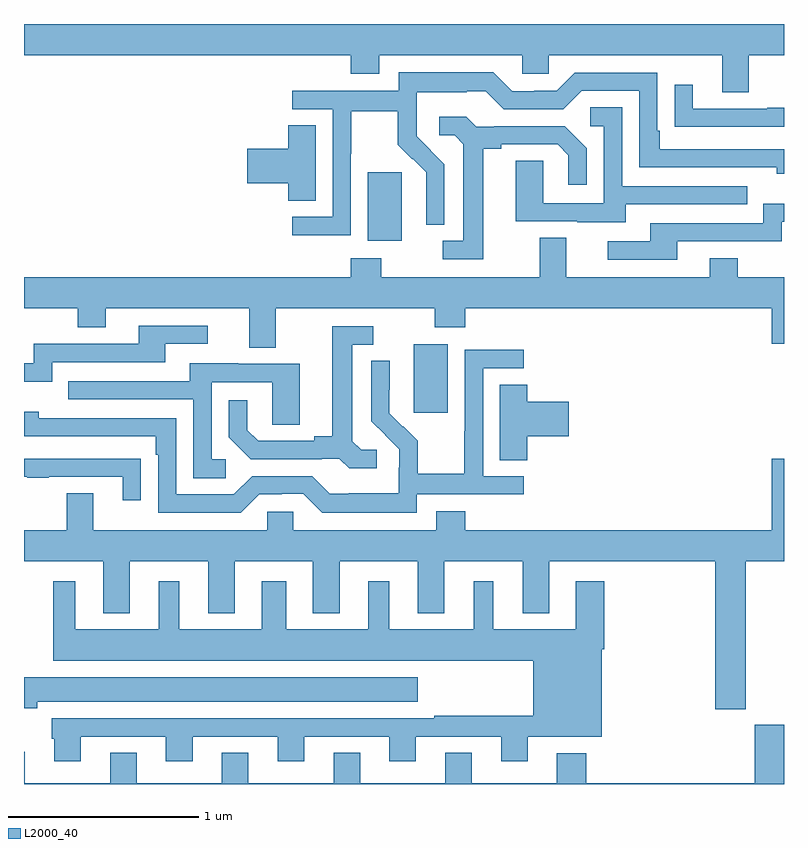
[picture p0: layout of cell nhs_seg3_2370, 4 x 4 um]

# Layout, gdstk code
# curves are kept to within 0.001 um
import gdstk
lib = gdstk.Library(unit=1e-6, precision=1e-09)
def R(c, l, rs):  # rectangles x0, y0, x1, y1
    for r in rs: c.add(gdstk.rectangle(r[:2], r[2:], *l))
def P(c, l, *ps):  # polygons
    for p in ps: c.add(gdstk.Polygon(p, *l))
L2000_40 = (2000, 40)

nhs_seg3_2370 = lib.new_cell('nhs_seg3_2370')
R(nhs_seg3_2370, L2000_40, [(235.052,712.353,235.231,712.714), (234.809,713.258,234.988,713.619)])
P(nhs_seg3_2370, L2000_40, [(236.815,714.236),(237,714.236),(237,714.4),(233,714.4),(233,714.236),(234.719,714.236),(234.719,714.137),(234.871,714.137),(234.871,714.236),(235.623,714.236),(235.623,714.138),(235.761,714.138),(235.761,714.236),(236.675,714.236),(236.675,714.042),(236.815,714.042)],
  [(234.72,713.716),(234.723,713.716),(234.723,713.94),(234.967,713.94),(234.967,713.765),(235.044,713.688),(235.047,713.691),(235.118,713.621),(235.118,713.498),(235.116,713.498),(235.116,713.344),(235.212,713.344),(235.212,713.662),(235.066,713.81),(235.066,713.907),(235.068,713.907),(235.068,714.041),(235.331,714.041),(235.331,714.045),(235.431,714.045),(235.524,713.952),(235.839,713.952),(235.935,714.048),(236.238,714.048),(236.238,713.646),(236.963,713.646),(236.963,713.612),(237,713.612),(237,713.742),(236.347,713.742),(236.347,713.839),(236.334,713.839),(236.334,714.144),(235.899,714.144),(235.803,714.048),(235.685,714.048),(235.685,714.045),(235.569,714.045),(235.469,714.145),(234.972,714.145),(234.972,714.048),(234.411,714.048),(234.411,713.952),(234.624,713.952),(234.624,713.385),(234.411,713.385),(234.411,713.287),(234.72,713.287)],
  [(237,713.96),(236.911,713.96),(236.911,713.955),(236.521,713.955),(236.521,714.079),(236.425,714.079),(236.425,713.86),(236.527,713.86),(236.527,713.859),(237,713.859)],
  [(236.167,713.451),(236.807,713.451),(236.807,713.547),(236.148,713.547),(236.148,713.963),(235.98,713.963),(235.98,713.862),(236.052,713.862),(236.052,713.457),(235.734,713.457),(235.734,713.681),(235.589,713.681),(235.589,713.361),(235.913,713.361),(235.913,713.357),(236.167,713.357)],
  [(235.417,713.744),(235.513,713.744),(235.513,713.766),(235.808,713.766),(235.865,713.709),(235.865,713.553),(235.962,713.553),(235.962,713.746),(235.846,713.862),(235.474,713.862),(235.474,713.859),(235.38,713.859),(235.328,713.911),(235.185,713.911),(235.185,713.814),(235.266,713.814),(235.313,713.767),(235.313,713.259),(235.203,713.259),(235.203,713.163),(235.417,713.163)],
  [(234.535,713.867),(234.392,713.867),(234.392,713.744),(234.174,713.744),(234.174,713.561),(234.392,713.561),(234.392,713.47),(234.535,713.47)],
  [(236.437,713.256),(236.988,713.256),(236.988,713.358),(237,713.358),(237,713.455),(236.892,713.455),(236.892,713.352),(236.297,713.352),(236.297,713.256),(236.073,713.256),(236.073,713.16),(236.437,713.16)],
  [(234.325,712.904),(235.162,712.904),(235.162,712.805),(235.322,712.805),(235.322,712.904),(236.936,712.904),(236.936,712.716),(237,712.716),(237,713.068),(236.757,713.068),(236.757,713.167),(236.609,713.167),(236.609,713.068),(235.855,713.068),(235.855,713.276),(235.715,713.276),(235.715,713.068),(234.879,713.068),(234.879,713.167),(234.719,713.167),(234.719,713.068),(233,713.068),(233,712.904),(233.284,712.904),(233.284,712.805),(233.431,712.805),(233.431,712.904),(234.185,712.904),(234.185,712.696),(234.325,712.696)],
  [(233.148,712.62),(233.743,712.62),(233.743,712.716),(233.968,712.716),(233.968,712.812),(233.603,712.812),(233.603,712.716),(233.052,712.716),(233.052,712.614),(233,712.614),(233,712.517),(233.148,712.517)],
  [(234.856,712.158),(234.774,712.158),(234.727,712.205),(234.727,712.713),(234.838,712.713),(234.838,712.809),(234.623,712.809),(234.623,712.229),(234.527,712.229),(234.527,712.206),(234.232,712.206),(234.175,712.263),(234.175,712.42),(234.078,712.42),(234.078,712.226),(234.194,712.11),(234.566,712.11),(234.566,712.113),(234.66,712.113),(234.712,712.061),(234.856,712.061)],
  [(235.068,711.924),(235.63,711.924),(235.63,712.02),(235.416,712.02),(235.416,712.587),(235.63,712.587),(235.63,712.686),(235.32,712.686),(235.32,712.256),(235.318,712.256),(235.318,712.033),(235.073,712.033),(235.073,712.207),(234.996,712.284),(234.993,712.281),(234.923,712.352),(234.924,712.628),(234.828,712.628),(234.828,712.31),(234.974,712.162),(234.974,712.065),(234.972,712.065),(234.972,711.931),(234.709,711.931),(234.709,711.927),(234.609,711.927),(234.516,712.02),(234.201,712.02),(234.105,711.924),(233.802,711.924),(233.802,712.326),(233.078,712.326),(233.078,712.36),(233,712.36),(233,712.23),(233.693,712.23),(233.693,712.133),(233.706,712.133),(233.706,711.828),(234.141,711.828),(234.237,711.924),(234.356,711.924),(234.356,711.927),(234.471,711.927),(234.571,711.827),(235.068,711.827)],
  [(234.061,712.11),(233.988,712.11),(233.988,712.515),(234.306,712.515),(234.306,712.291),(234.451,712.291),(234.451,712.611),(234.127,712.611),(234.127,712.615),(233.873,712.615),(233.873,712.521),(233.233,712.521),(233.233,712.425),(233.892,712.425),(233.892,712.009),(234.061,712.009)],
  [(235.649,712.229),(235.867,712.229),(235.867,712.412),(235.649,712.412),(235.649,712.502),(235.505,712.502),(235.505,712.105),(235.649,712.105)],
  [(233.615,712.112),(233.513,712.112),(233.513,712.113),(233,712.113),(233,712.017),(233.017,712.017),(233.017,712.012),(233.129,712.012),(233.129,712.017),(233.519,712.017),(233.519,711.894),(233.615,711.894)],
  [(236.799,711.572),(237,711.572),(237,712.111),(236.936,712.111),(236.936,711.736),(235.322,711.736),(235.322,711.835),(235.169,711.835),(235.169,711.736),(234.417,711.736),(234.417,711.834),(234.279,711.834),(234.279,711.736),(233.365,711.736),(233.365,711.931),(233.225,711.931),(233.225,711.736),(233,711.736),(233,711.572),(233.417,711.572),(233.417,711.299),(233.557,711.299),(233.557,711.572),(233.969,711.572),(233.969,711.299),(234.109,711.299),(234.109,711.572),(234.521,711.572),(234.521,711.299),(234.661,711.299),(234.661,711.572),(235.073,711.572),(235.073,711.299),(235.213,711.299),(235.213,711.572),(235.625,711.572),(235.625,711.299),(235.765,711.299),(235.765,711.572),(236.639,711.572),(236.639,710.793),(236.799,710.793)],
  [(233.299,710.649),(233.747,710.649),(233.747,710.52),(233.887,710.52),(233.887,710.649),(234.335,710.649),(234.335,710.52),(234.475,710.52),(234.475,710.649),(234.923,710.649),(234.923,710.52),(235.063,710.52),(235.063,710.649),(235.511,710.649),(235.511,710.52),(235.651,710.52),(235.651,710.648),(236.041,710.648),(236.041,711.11),(236.054,711.11),(236.054,711.466),(235.904,711.466),(235.904,711.214),(235.471,711.214),(235.471,711.466),(235.367,711.466),(235.367,711.214),(234.922,711.214),(234.922,711.466),(234.812,711.466),(234.812,711.214),(234.379,711.214),(234.379,711.466),(234.251,711.466),(234.251,711.214),(233.818,711.214),(233.818,711.466),(233.708,711.466),(233.708,711.214),(233.269,711.214),(233.269,711.466),(233.153,711.466),(233.153,711.05),(235.679,711.05),(235.679,710.758),(235.159,710.758),(235.159,710.745),(233.147,710.745),(233.147,710.637),(233.159,710.637),(233.159,710.52),(233.299,710.52)],
  [(233.071,710.834),(235.072,710.834),(235.072,710.962),(233,710.962),(233,710.798),(233.071,710.798)],
  [(237,710.713),(236.846,710.713),(236.846,710.404),(235.958,710.404),(235.958,710.563),(235.805,710.563),(235.805,710.404),(235.357,710.404),(235.357,710.564),(235.217,710.564),(235.217,710.404),(234.769,710.404),(234.769,710.564),(234.629,710.564),(234.629,710.404),(234.181,710.404),(234.181,710.564),(234.041,710.564),(234.041,710.404),(233.593,710.404),(233.593,710.564),(233.453,710.564),(233.453,710.404),(233.005,710.404),(233.005,710.569),(233,710.569),(233,710.4),(237,710.4)])

lib.write_gds('nhs_seg3_2370.gds')
